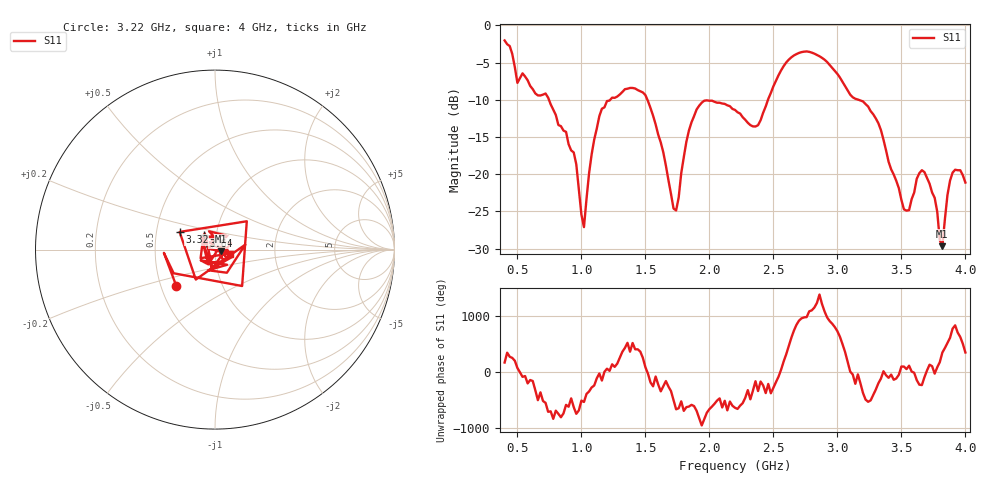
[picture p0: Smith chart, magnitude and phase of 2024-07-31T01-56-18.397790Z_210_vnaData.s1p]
!Created with skrf (http://scikit-rf.org).
# Hz S RI R 50.0
!freq ReS11 ImS11
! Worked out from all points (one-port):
!   181 points, 400 MHz to 4 GHz, reference 50 ohm
!   lowest |S11| = -29.7 dB at 3.82 GHz (marker M1), VSWR 1.07, Z = 53.2 - j1.06 ohm
!   |S11| at or under -10 dB: 746.6 MHz to 1.225 GHz (478.1 MHz wide, 48.5 % of centre); 1.516 GHz to 2.457 GHz (941.5 MHz wide, 47.4 % of centre); 3.166 GHz to end of sweep
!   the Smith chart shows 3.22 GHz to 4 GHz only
!   S11 on the Smith chart (normalised r, x): 3.22 GHz: 0.60, -0.27; 3.32 GHz: 0.66, +0.14; 3.64 GHz: 0.87, +0.14; 4 GHz: 1.18, -0.06
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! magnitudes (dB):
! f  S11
! 400 MHz  -2.0
! 500 MHz  -7.7
! 720 MHz  -9.1
! 860 MHz  -14.1
! 960 MHz  -18.7
! 1.02 GHz  -27.1
! 1.08 GHz  -17.3
! 1.14 GHz  -12.2
! 1.3 GHz  -9.3
! 1.5 GHz  -9.4
! 1.64 GHz  -17.1
! 1.72 GHz  -24.6
! 1.76 GHz  -23.1
! 1.82 GHz  -15.6
! 1.9 GHz  -11.3
! 2.2 GHz  -11.4
! 2.38 GHz  -13.4
! 2.66 GHz  -4.0
! 2.88 GHz  -4.4
! 3.1 GHz  -9.3
! 3.22 GHz  -10.6
! 3.32 GHz  -13.1
! 3.56 GHz  -24.8
! 3.64 GHz  -19.9
! 3.76 GHz  -23.2
! 3.82 GHz  -29.7
! 3.9 GHz  -19.8
! 4 GHz  -21.1
